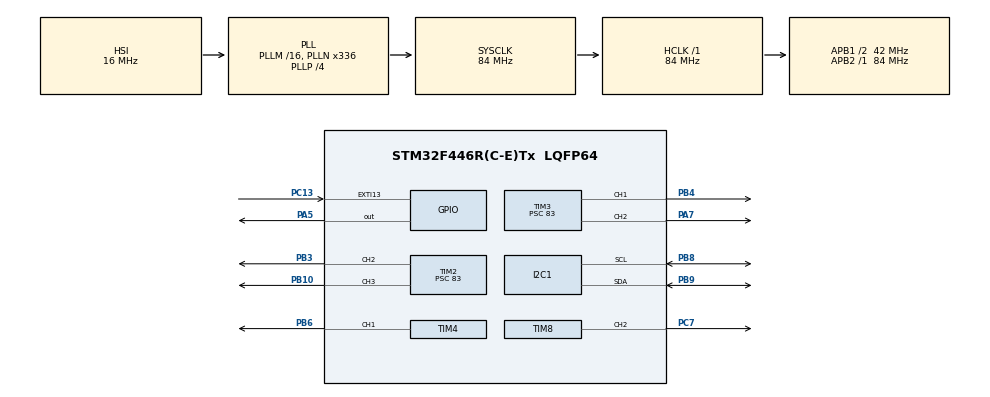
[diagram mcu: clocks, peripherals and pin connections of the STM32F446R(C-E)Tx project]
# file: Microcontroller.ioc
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Mcu.Family=STM32F4
Mcu.Name=STM32F446R(C-E)Tx
Mcu.Package=LQFP64
NUCLEO-F446RE.BUTTON=1
NUCLEO-F446RE.Bsp_Common_DEMO=true
NUCLEO-F446RE.LD1=true
NVIC.EXTI15_10_IRQn=true\:0\:0\:false\:false\:true\:false\:true\:true
NVIC.PriorityGroup=NVIC_PRIORITYGROUP_0
PA13.GPIO_Label=TMS
PA13.Signal=SYS_JTMS-SWDIO
PA14.GPIO_Label=TCK
PA14.Signal=SYS_JTCK-SWCLK
PA2.GPIO_Label=USART_TX
PA2.Signal=USART2_TX
PA3.GPIO_Label=USART_RX
PA3.Signal=USART2_RX
PA5.Signal=GPIO_Output
PA7.Signal=S_TIM3_CH2
PB10.Signal=S_TIM2_CH3
PB3.Signal=S_TIM2_CH2
PB4.Signal=S_TIM3_CH1
PB6.Signal=S_TIM4_CH1
PB8.Mode=I2C
PB8.Signal=I2C1_SCL
PB9.Mode=I2C
PB9.Signal=I2C1_SDA
PC13.Signal=GPXTI13
PC14-OSC32_IN.Signal=RCC_OSC32_IN
PC15-OSC32_OUT.Signal=RCC_OSC32_OUT
PC7.Signal=S_TIM8_CH2
PH0-OSC_IN.Signal=RCC_OSC_IN
PH1-OSC_OUT.Signal=RCC_OSC_OUT
ProjectManager.HeapSize=0x200
ProjectManager.StackSize=0x400
ProjectManager.TargetToolchain=STM32CubeIDE
RCC.AHBFreq_Value=84000000
RCC.APB1CLKDivider=RCC_HCLK_DIV2
RCC.APB1Freq_Value=42000000
RCC.APB1TimFreq_Value=84000000
RCC.APB2Freq_Value=84000000
RCC.APB2TimFreq_Value=84000000
RCC.CortexFreq_Value=84000000
RCC.FLatency-AdvancedSettings=FLASH_LATENCY_2
RCC.HCLKFreq_Value=84000000
RCC.HSE_VALUE=8000000
RCC.HSI_VALUE=16000000
RCC.LSE_VALUE=32768
RCC.PLLN=336
RCC.PLLP=RCC_PLLP_DIV4
RCC.SYSCLKFreq_VALUE=84000000
RCC.SYSCLKSource=RCC_SYSCLKSOURCE_PLLCLK
RCC.USBFreq_Value=168000000
RCC.VCOOutputFreq_Value=336000000
SH.S_TIM2_CH2.0=TIM2_CH2,PWM Generation2 CH2
SH.S_TIM2_CH3.0=TIM2_CH3,PWM Generation3 CH3
SH.S_TIM3_CH1.0=TIM3_CH1,PWM Generation1 CH1
SH.S_TIM3_CH2.0=TIM3_CH2,PWM Generation2 CH2
SH.S_TIM4_CH1.0=TIM4_CH1,PWM Generation1 CH1
SH.S_TIM8_CH2.0=TIM8_CH2,PWM Generation2 CH2
TIM2.Channel-PWM\ Generation2\ CH2=TIM_CHANNEL_2
TIM2.Channel-PWM\ Generation3\ CH3=TIM_CHANNEL_3
TIM2.Period=19999
TIM2.Prescaler=83
TIM3.Channel-PWM\ Generation1\ CH1=TIM_CHANNEL_1
TIM3.Channel-PWM\ Generation2\ CH2=TIM_CHANNEL_2
TIM3.Period=19999
TIM3.Prescaler=83
TIM4.Channel-PWM\ Generation1\ CH1=TIM_CHANNEL_1
TIM4.Period=19999
TIM4.Prescaler=83
TIM8.Channel-PWM\ Generation2\ CH2=TIM_CHANNEL_2
TIM8.Period=19999
TIM8.Prescaler=83
VP_NUCLEO-F446RE_VS_BSP_COMMON.Mode=COMMON
board=NUCLEO-F446RE

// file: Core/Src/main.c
/* USER CODE BEGIN Header */
/**
  ******************************************************************************
  * @file           : main.c
  * @brief          : Main program body
  ******************************************************************************
  * @attention
  *
  * Copyright (c) 2026 STMicroelectronics.
  * All rights reserved.
  *
  * This software is licensed under terms that can be found in the LICENSE file
  * in the root directory of this software component.
  * If no LICENSE file comes with this software, it is provided AS-IS.
  *
  ******************************************************************************
  */
/* USER CODE END Header */
#include "main.h"

/* USER CODE BEGIN Includes */
#include "alt_main.h"

/* USER CODE END Includes */

/* Button state */
#define BUTTON_RELEASED                    0U
#define BUTTON_PRESSED                     1U

__IO uint32_t BspButtonState = BUTTON_RELEASED;
I2C_HandleTypeDef hi2c1;

TIM_HandleTypeDef htim2;
TIM_HandleTypeDef htim3;
TIM_HandleTypeDef htim4;
TIM_HandleTypeDef htim8;

void SystemClock_Config(void);
static void MX_GPIO_Init(void);
static void MX_TIM3_Init(void);
static void MX_TIM2_Init(void);
static void MX_TIM4_Init(void);
static void MX_TIM8_Init(void);
static void MX_I2C1_Init(void);

int main(void)
{

  /* MCU Configuration--------------------------------------------------------*/

  /* Reset of all peripherals, Initializes the Flash interface and the Systick. */
  HAL_Init();

  /* Configure the system clock */
  SystemClock_Config();

  /* Initialize all configured peripherals */
  MX_GPIO_Init();
  MX_TIM3_Init();
  MX_TIM2_Init();
  MX_TIM4_Init();
  MX_TIM8_Init();
  MX_I2C1_Init();

  /* Initialize leds */
  BSP_LED_Init(LED2);

  /* Initialize USER push-button, will be used to trigger an interrupt each time it's pressed.*/
  BSP_PB_Init(BUTTON_USER, BUTTON_MODE_EXTI);

  /* USER CODE BEGIN BSP */

  /* -- Sample board code to switch on leds ---- */
  BSP_LED_On(LED2);

  /* USER CODE END BSP */

  /* Infinite loop */
  /* USER CODE BEGIN WHILE */

  Params params = {
	  .timerInitList = {
			.hip = { &htim2, TIM_CHANNEL_2 },
			.shoulder = { &htim3, TIM_CHANNEL_1 },
			.elbow = { &htim2, TIM_CHANNEL_3 },
			.wrist = { &htim8, TIM_CHANNEL_2 },
			.wristRot = { &htim4, TIM_CHANNEL_1 },
			.claw = { &htim3, TIM_CHANNEL_2 }
	  },
	  .i2cInit = { &hi2c1 }
  };

  alt_main(&params, &BspButtonState);

  while (1)
  {

    /* -- Sample board code for User push-button in interrupt mode ---- */
   if (BspButtonState == BUTTON_PRESSED)
   {
     /* Update button state */
     BspButtonState = BUTTON_RELEASED;
     /* -- Sample board code to toggle leds ---- */
     BSP_LED_Toggle(LED2);

     /* ..... Perform your action ..... */
   }

    /* USER CODE END WHILE */

  }
}

void SystemClock_Config(void)
{
  RCC_OscInitTypeDef RCC_OscInitStruct = {0};
  RCC_ClkInitTypeDef RCC_ClkInitStruct = {0};

  /** Configure the main internal regulator output voltage
  */
  __HAL_RCC_PWR_CLK_ENABLE();
  __HAL_PWR_VOLTAGESCALING_CONFIG(PWR_REGULATOR_VOLTAGE_SCALE3);

  /** Initializes the RCC Oscillators according to the specified parameters
  * in the RCC_OscInitTypeDef structure.
  */
  RCC_OscInitStruct.OscillatorType = RCC_OSCILLATORTYPE_HSI;
  RCC_OscInitStruct.HSIState = RCC_HSI_ON;
  RCC_OscInitStruct.HSICalibrationValue = RCC_HSICALIBRATION_DEFAULT;
  RCC_OscInitStruct.PLL.PLLState = RCC_PLL_ON;
  RCC_OscInitStruct.PLL.PLLSource = RCC_PLLSOURCE_HSI;
  RCC_OscInitStruct.PLL.PLLM = 16;
  RCC_OscInitStruct.PLL.PLLN = 336;
  RCC_OscInitStruct.PLL.PLLP = RCC_PLLP_DIV4;
  RCC_OscInitStruct.PLL.PLLQ = 2;
  RCC_OscInitStruct.PLL.PLLR = 2;
  if (HAL_RCC_OscConfig(&RCC_OscInitStruct) != HAL_OK)
  {
    Error_Handler();
  }

  /** Initializes the CPU, AHB and APB buses clocks
  */
  RCC_ClkInitStruct.ClockType = RCC_CLOCKTYPE_HCLK|RCC_CLOCKTYPE_SYSCLK
                              |RCC_CLOCKTYPE_PCLK1|RCC_CLOCKTYPE_PCLK2;
  RCC_ClkInitStruct.SYSCLKSource = RCC_SYSCLKSOURCE_PLLCLK;
  RCC_ClkInitStruct.AHBCLKDivider = RCC_SYSCLK_DIV1;
  RCC_ClkInitStruct.APB1CLKDivider = RCC_HCLK_DIV2;
  RCC_ClkInitStruct.APB2CLKDivider = RCC_HCLK_DIV1;

  if (HAL_RCC_ClockConfig(&RCC_ClkInitStruct, FLASH_LATENCY_2) != HAL_OK)
  {
    Error_Handler();
  }
}

static void MX_I2C1_Init(void)
{

  hi2c1.Instance = I2C1;
  hi2c1.Init.ClockSpeed = 100000;
  hi2c1.Init.DutyCycle = I2C_DUTYCYCLE_2;
  hi2c1.Init.OwnAddress1 = 0;
  hi2c1.Init.AddressingMode = I2C_ADDRESSINGMODE_7BIT;
  hi2c1.Init.DualAddressMode = I2C_DUALADDRESS_DISABLE;
  hi2c1.Init.OwnAddress2 = 0;
  hi2c1.Init.GeneralCallMode = I2C_GENERALCALL_DISABLE;
  hi2c1.Init.NoStretchMode = I2C_NOSTRETCH_DISABLE;
  if (HAL_I2C_Init(&hi2c1) != HAL_OK)
  {
    Error_Handler();
  }

}

static void MX_TIM2_Init(void)
{

  TIM_MasterConfigTypeDef sMasterConfig = {0};
  TIM_OC_InitTypeDef sConfigOC = {0};

  htim2.Instance = TIM2;
  htim2.Init.Prescaler = 83;
  htim2.Init.CounterMode = TIM_COUNTERMODE_UP;
  htim2.Init.Period = 19999;
  htim2.Init.ClockDivision = TIM_CLOCKDIVISION_DIV1;
  htim2.Init.AutoReloadPreload = TIM_AUTORELOAD_PRELOAD_DISABLE;
  if (HAL_TIM_PWM_Init(&htim2) != HAL_OK)
  {
    Error_Handler();
  }
  sMasterConfig.MasterOutputTrigger = TIM_TRGO_RESET;
  sMasterConfig.MasterSlaveMode = TIM_MASTERSLAVEMODE_DISABLE;
  if (HAL_TIMEx_MasterConfigSynchronization(&htim2, &sMasterConfig) != HAL_OK)
  {
    Error_Handler();
  }
  sConfigOC.OCMode = TIM_OCMODE_PWM1;
  sConfigOC.Pulse = 0;
  sConfigOC.OCPolarity = TIM_OCPOLARITY_HIGH;
  sConfigOC.OCFastMode = TIM_OCFAST_DISABLE;
  if (HAL_TIM_PWM_ConfigChannel(&htim2, &sConfigOC, TIM_CHANNEL_2) != HAL_OK)
  {
    Error_Handler();
  }
  if (HAL_TIM_PWM_ConfigChannel(&htim2, &sConfigOC, TIM_CHANNEL_3) != HAL_OK)
  {
    Error_Handler();
  }
  HAL_TIM_MspPostInit(&htim2);

}

static void MX_TIM3_Init(void)
{

  TIM_MasterConfigTypeDef sMasterConfig = {0};
  TIM_OC_InitTypeDef sConfigOC = {0};

  htim3.Instance = TIM3;
  htim3.Init.Prescaler = 83;
  htim3.Init.CounterMode = TIM_COUNTERMODE_UP;
  htim3.Init.Period = 19999;
  htim3.Init.ClockDivision = TIM_CLOCKDIVISION_DIV1;
  htim3.Init.AutoReloadPreload = TIM_AUTORELOAD_PRELOAD_DISABLE;
  if (HAL_TIM_PWM_Init(&htim3) != HAL_OK)
  {
    Error_Handler();
  }
  sMasterConfig.MasterOutputTrigger = TIM_TRGO_RESET;
  sMasterConfig.MasterSlaveMode = TIM_MASTERSLAVEMODE_DISABLE;
  if (HAL_TIMEx_MasterConfigSynchronization(&htim3, &sMasterConfig) != HAL_OK)
  {
    Error_Handler();
  }
  sConfigOC.OCMode = TIM_OCMODE_PWM1;
  sConfigOC.Pulse = 0;
  sConfigOC.OCPolarity = TIM_OCPOLARITY_HIGH;
  sConfigOC.OCFastMode = TIM_OCFAST_DISABLE;
  if (HAL_TIM_PWM_ConfigChannel(&htim3, &sConfigOC, TIM_CHANNEL_1) != HAL_OK)
  {
    Error_Handler();
  }
  if (HAL_TIM_PWM_ConfigChannel(&htim3, &sConfigOC, TIM_CHANNEL_2) != HAL_OK)
  {
    Error_Handler();
  }
  HAL_TIM_MspPostInit(&htim3);

}

static void MX_TIM4_Init(void)
{

  TIM_MasterConfigTypeDef sMasterConfig = {0};
  TIM_OC_InitTypeDef sConfigOC = {0};

  htim4.Instance = TIM4;
  htim4.Init.Prescaler = 83;
  htim4.Init.CounterMode = TIM_COUNTERMODE_UP;
  htim4.Init.Period = 19999;
  htim4.Init.ClockDivision = TIM_CLOCKDIVISION_DIV1;
  htim4.Init.AutoReloadPreload = TIM_AUTORELOAD_PRELOAD_DISABLE;
  if (HAL_TIM_PWM_Init(&htim4) != HAL_OK)
  {
    Error_Handler();
  }
  sMasterConfig.MasterOutputTrigger = TIM_TRGO_RESET;
  sMasterConfig.MasterSlaveMode = TIM_MASTERSLAVEMODE_DISABLE;
  if (HAL_TIMEx_MasterConfigSynchronization(&htim4, &sMasterConfig) != HAL_OK)
  {
    Error_Handler();
  }
  sConfigOC.OCMode = TIM_OCMODE_PWM1;
  sConfigOC.Pulse = 0;
  sConfigOC.OCPolarity = TIM_OCPOLARITY_HIGH;
  sConfigOC.OCFastMode = TIM_OCFAST_DISABLE;
  if (HAL_TIM_PWM_ConfigChannel(&htim4, &sConfigOC, TIM_CHANNEL_1) != HAL_OK)
  {
    Error_Handler();
  }
  HAL_TIM_MspPostInit(&htim4);

}

static void MX_TIM8_Init(void)
{

  TIM_MasterConfigTypeDef sMasterConfig = {0};
  TIM_OC_InitTypeDef sConfigOC = {0};
  TIM_BreakDeadTimeConfigTypeDef sBreakDeadTimeConfig = {0};

  htim8.Instance = TIM8;
  htim8.Init.Prescaler = 83;
  htim8.Init.CounterMode = TIM_COUNTERMODE_UP;
  htim8.Init.Period = 19999;
  htim8.Init.ClockDivision = TIM_CLOCKDIVISION_DIV1;
  htim8.Init.RepetitionCounter = 0;
  htim8.Init.AutoReloadPreload = TIM_AUTORELOAD_PRELOAD_DISABLE;
  if (HAL_TIM_PWM_Init(&htim8) != HAL_OK)
  {
    Error_Handler();
  }
  sMasterConfig.MasterOutputTrigger = TIM_TRGO_RESET;
  sMasterConfig.MasterSlaveMode = TIM_MASTERSLAVEMODE_DISABLE;
  if (HAL_TIMEx_MasterConfigSynchronization(&htim8, &sMasterConfig) != HAL_OK)
  {
    Error_Handler();
  }
  sConfigOC.OCMode = TIM_OCMODE_PWM1;
  sConfigOC.Pulse = 0;
  sConfigOC.OCPolarity = TIM_OCPOLARITY_HIGH;
  sConfigOC.OCNPolarity = TIM_OCNPOLARITY_HIGH;
  sConfigOC.OCFastMode = TIM_OCFAST_DISABLE;
  sConfigOC.OCIdleState = TIM_OCIDLESTATE_RESET;
  sConfigOC.OCNIdleState = TIM_OCNIDLESTATE_RESET;
  if (HAL_TIM_PWM_ConfigChannel(&htim8, &sConfigOC, TIM_CHANNEL_2) != HAL_OK)
  {
    Error_Handler();
  }
  sBreakDeadTimeConfig.OffStateRunMode = TIM_OSSR_DISABLE;
  sBreakDeadTimeConfig.OffStateIDLEMode = TIM_OSSI_DISABLE;
  sBreakDeadTimeConfig.LockLevel = TIM_LOCKLEVEL_OFF;
  sBreakDeadTimeConfig.DeadTime = 0;
  sBreakDeadTimeConfig.BreakState = TIM_BREAK_DISABLE;
  sBreakDeadTimeConfig.BreakPolarity = TIM_BREAKPOLARITY_HIGH;
  sBreakDeadTimeConfig.AutomaticOutput = TIM_AUTOMATICOUTPUT_DISABLE;
  if (HAL_TIMEx_ConfigBreakDeadTime(&htim8, &sBreakDeadTimeConfig) != HAL_OK)
  {
    Error_Handler();
  }
  HAL_TIM_MspPostInit(&htim8);

}

static void MX_GPIO_Init(void)
{
  GPIO_InitTypeDef GPIO_InitStruct = {0};

  /* GPIO Ports Clock Enable */
  __HAL_RCC_GPIOC_CLK_ENABLE();
  __HAL_RCC_GPIOH_CLK_ENABLE();
  __HAL_RCC_GPIOA_CLK_ENABLE();
  __HAL_RCC_GPIOB_CLK_ENABLE();

  /*Configure GPIO pins : USART_TX_Pin USART_RX_Pin */
  GPIO_InitStruct.Pin = USART_TX_Pin|USART_RX_Pin;
  GPIO_InitStruct.Mode = GPIO_MODE_AF_PP;
  GPIO_InitStruct.Pull = GPIO_NOPULL;
  GPIO_InitStruct.Speed = GPIO_SPEED_FREQ_VERY_HIGH;
  GPIO_InitStruct.Alternate = GPIO_AF7_USART2;
  HAL_GPIO_Init(GPIOA, &GPIO_InitStruct);

}

/**
  * @brief EXTI line detection callbacks
  * @param GPIO_Pin: Specifies the pins connected EXTI line
  * @retval None
  */
void HAL_GPIO_EXTI_Callback(uint16_t GPIO_Pin)
{
  if(GPIO_Pin==USER_BUTTON_PIN)
  {
    BspButtonState = BUTTON_PRESSED;
  }
}

void Error_Handler(void)
{
  __disable_irq();
  while (1)
  {
  }
}
